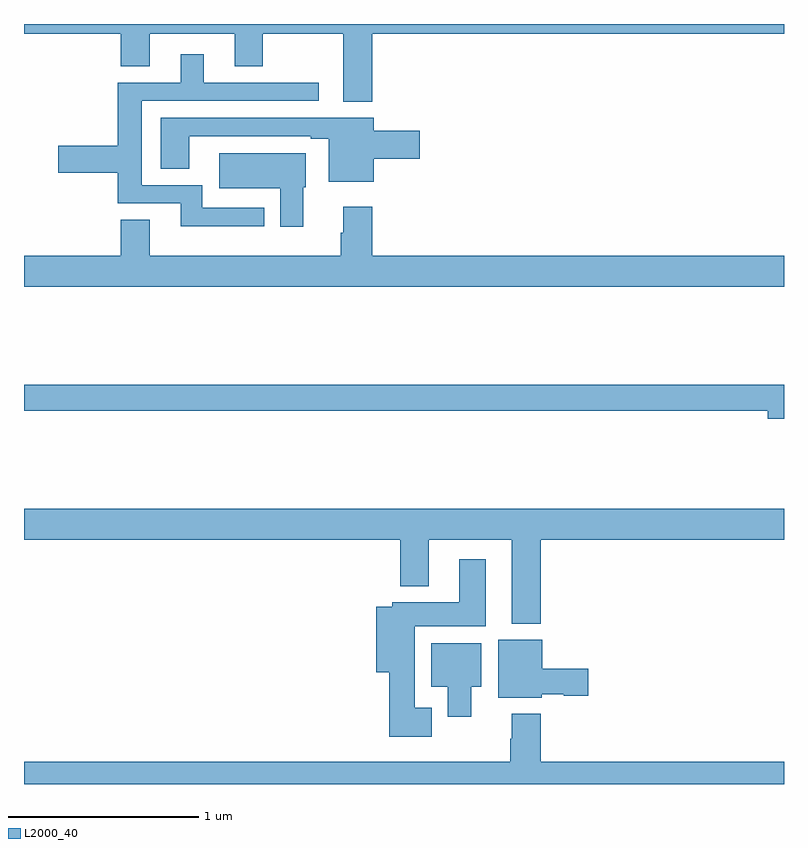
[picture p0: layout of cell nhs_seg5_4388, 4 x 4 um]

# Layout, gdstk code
import gdstk
lib = gdstk.Library(unit=1e-6, precision=1e-09)
def P(c, l, *ps):  # polygons
    for p in ps: c.add(gdstk.Polygon(p, *l))
L2000_40 = (2000, 40)

nhs_seg5_4388 = lib.new_cell('nhs_seg5_4388')
P(nhs_seg5_4388, L2000_40, [(370.832,868.748),(373,868.748),(373,868.799),(369,868.799),(369,868.748),(369.509,868.748),(369.509,868.576),(369.661,868.576),(369.661,868.748),(370.109,868.748),(370.109,868.576),(370.257,868.576),(370.257,868.748),(370.679,868.748),(370.679,868.391),(370.832,868.391)],
  [(370.264,867.831),(369.937,867.831),(369.937,867.951),(369.619,867.951),(369.619,868.395),(370.552,868.395),(370.552,868.491),(369.946,868.491),(369.946,868.639),(369.824,868.639),(369.824,868.491),(369.494,868.491),(369.494,868.157),(369.18,868.157),(369.18,868.015),(369.494,868.015),(369.494,867.855),(369.824,867.855),(369.824,867.734),(370.264,867.734)],
  [(370.84,868.091),(371.083,868.091),(371.083,868.238),(370.84,868.238),(370.84,868.305),(369.719,868.305),(369.719,868.038),(369.871,868.038),(369.871,868.209),(370.508,868.209),(370.508,868.196),(370.604,868.196),(370.604,867.968),(370.84,867.968)],
  [(370.471,867.939),(370.482,867.939),(370.482,868.119),(370.379,868.119),(370.379,868.12),(370.028,868.12),(370.028,867.935),(370.349,867.935),(370.349,867.732),(370.471,867.732)],
  [(373,867.58),(370.832,867.58),(370.832,867.838),(370.679,867.838),(370.679,867.701),(370.667,867.701),(370.667,867.58),(369.661,867.58),(369.661,867.77),(369.509,867.77),(369.509,867.58),(369,867.58),(369,867.416),(373,867.416)],
  [(373,866.9),(369,866.9),(369,866.764),(372.914,866.764),(372.914,866.722),(373,866.722)],
  [(371.72,866.084),(373,866.084),(373,866.248),(369,866.248),(369,866.084),(370.979,866.084),(370.979,865.841),(371.131,865.841),(371.131,866.084),(371.567,866.084),(371.567,865.643),(371.72,865.643)],
  [(371.146,865.201),(371.056,865.201),(371.056,865.628),(371.431,865.628),(371.431,865.981),(371.291,865.981),(371.291,865.756),(370.938,865.756),(370.938,865.732),(370.853,865.732),(370.853,865.388),(370.922,865.388),(370.922,865.049),(371.146,865.049)],
  [(371.724,865.271),(371.841,865.271),(371.841,865.264),(371.971,865.264),(371.971,865.406),(371.728,865.406),(371.728,865.558),(371.495,865.558),(371.495,865.253),(371.724,865.253)],
  [(371.353,865.31),(371.407,865.31),(371.407,865.54),(371.144,865.54),(371.144,865.31),(371.231,865.31),(371.231,865.152),(371.353,865.152)],
  [(373,864.916),(371.72,864.916),(371.72,865.168),(371.567,865.168),(371.567,865.037),(371.56,865.037),(371.56,864.916),(369,864.916),(369,864.799),(373,864.799)])

lib.write_gds('nhs_seg5_4388.gds')
